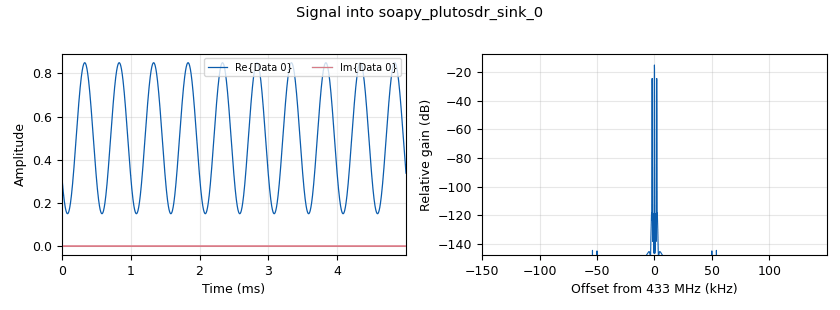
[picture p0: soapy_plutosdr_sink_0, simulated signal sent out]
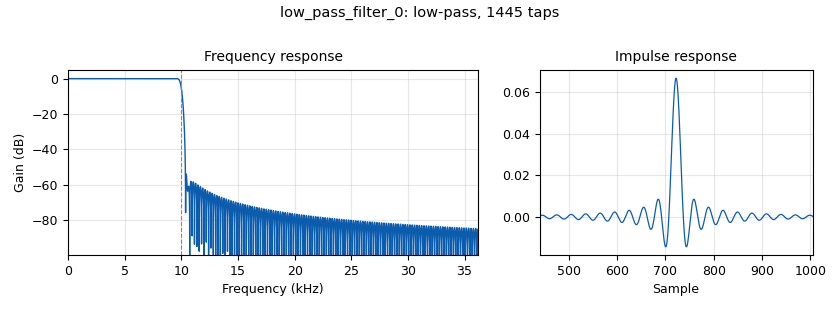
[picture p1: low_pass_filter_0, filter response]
options:
  parameters:
    author: maheswaran
    generate_options: qt_gui
    id: N1
    output_language: python
    title: Not titled yet
  states: {}

blocks:
- name: a
  id: variable
  parameters:
    value: '1'
  states: {state: disabled}
- name: a
  id: variable_qtgui_chooser
  parameters:
    label0: Unmodulated
    label1: AM/USB/LSB
    num_opts: '2'
    option0: '0'
    option1: '0.7'
    type: real
    value: '0.7'
  states: {}
- name: audio_select
  id: variable_qtgui_chooser
  parameters:
    label0: Real
    label1: Imag
    label2: Magnitude
    num_opts: '3'
    option0: '0'
    option1: '1'
    option2: '2'
    type: int
    value: '2'
  states: {}
- name: b
  id: variable
  parameters:
    value: '0'
  states: {state: disabled}
- name: b
  id: variable_qtgui_chooser
  parameters:
    label0: AM/Unmodulated
    label1: USB
    label2: LSB
    num_opts: '3'
    option0: '0'
    option1: '0.7'
    option2: '-0.7'
    type: real
    value: '0'
  states: {}
- name: c
  id: variable
  parameters:
    value: '0.5'
  states: {state: disabled}
- name: c
  id: variable_qtgui_range
  parameters:
    start: '0'
    step: '0.1'
    stop: '1'
    value: '0.5'
  states: {}
- name: fc
  id: variable
  parameters:
    value: int(433e6)
  states: {}
- name: fm
  id: variable_qtgui_range
  parameters:
    start: '1000'
    step: '1000'
    stop: '10000'
    value: '2000'
  states: {}
- name: fm
  id: variable
  parameters:
    value: '2000'
  states: {state: disabled}
- name: gain_rx
  id: variable_qtgui_range
  parameters:
    label: gain_rx
    start: '0'
    step: '1'
    stop: '49'
    value: '42'
  states: {}
- name: gain_tx
  id: variable_qtgui_range
  parameters:
    start: '0'
    step: '1'
    stop: '89'
    value: '81'
  states: {}
- name: samp_rate
  id: variable
  parameters:
    value: int(300e3)
  states: {}
- name: analog_agc_xx_0
  id: analog_agc_xx
  parameters:
    gain: '1.0'
    max_gain: '65536'
    rate: '1e-3'
    reference: '0.7'
    type: complex
  states: {state: disabled}
- name: analog_const_source_x_0
  id: analog_const_source_x
  parameters:
    const: a/2
    type: float
  states: {}
- name: analog_const_source_x_1
  id: analog_const_source_x
  parameters:
    const: c
    type: float
  states: {}
- name: analog_sig_source_x_0_0
  id: analog_sig_source_x
  parameters:
    amp: a/2
    freq: fm
    offset: '0'
    phase: '0'
    samp_rate: samp_rate
    type: float
    waveform: analog.GR_COS_WAVE
  states: {}
- name: analog_sig_source_x_0_0_0
  id: analog_sig_source_x
  parameters:
    amp: b/2
    freq: fm
    offset: '0'
    phase: '0'
    samp_rate: samp_rate
    type: float
    waveform: analog.GR_SIN_WAVE
  states: {}
- name: audio_sink_0
  id: audio_sink
  parameters:
    samp_rate: int(samp_rate/15)
  states: {}
- name: blocks_add_const_vxx_0
  id: blocks_add_const_vxx
  parameters:
    const: complex(c)
    type: complex
  states: {}
- name: blocks_complex_to_float_0
  id: blocks_complex_to_float
  parameters: {}
  states: {}
- name: blocks_complex_to_mag_0
  id: blocks_complex_to_mag
  parameters: {}
  states: {}
- name: blocks_divide_xx_0
  id: blocks_divide_xx
  parameters:
    type: float
  states: {}
- name: blocks_float_to_complex_0
  id: blocks_float_to_complex
  parameters: {}
  states: {}
- name: blocks_selector_0
  id: blocks_selector
  parameters:
    enabled: 'True'
    input_index: audio_select
    num_inputs: '3'
    num_outputs: '1'
    output_index: '0'
    type: float
  states: {}
- name: import_0
  id: import
  parameters:
    imports: import numpy
  states: {}
- name: low_pass_filter_0
  id: low_pass_filter
  parameters:
    cutoff_freq: '10000'
    decim: '15'
    gain: '1'
    samp_rate: samp_rate
    type: fir_filter_ccf
    width: '500'
    win: window.WIN_HAMMING
  states: {}
- name: m
  id: qtgui_number_sink
  parameters:
    autoscale: 'True'
    graph_type: qtgui.NUM_GRAPH_HORIZ
    name: Modulation Index
    type: float
  states: {}
- name: note_0
  id: note
  parameters:
    comment: |-
      Case 1:
      Unmodulated carrier - a = 0, b = 0, c = 1

      Case 2:
      Upper side band modulation - a = 1, b = 1 , c = 0

      Case 3:
      Lower side band modulation - a = 1, b = -1 , c = 0

      Case 4: 
      Amplitude modulation - a = 1, b = 0, c = 1
  states: {}
- name: qtgui_freq_sink_x_0
  id: qtgui_freq_sink_x
  parameters:
    autoscale: 'True'
    average: '0.2'
    bw: samp_rate/15
    fc: '0'
    fftsize: '1024'
    type: complex
  states: {}
- name: qtgui_time_sink_x_0
  id: qtgui_time_sink_x
  parameters:
    autoscale: 'True'
    entags: 'False'
    label1: Real
    label2: Imag
    label3: Magnitude
    nconnections: '3'
    size: '1024'
    srate: samp_rate/15
    type: float
    update_time: '0.1'
  states: {}
- name: qtgui_waterfall_sink_x_0
  id: qtgui_waterfall_sink_x
  parameters:
    bw: samp_rate/15
    fc: '0'
    fftsize: '1024'
    type: complex
  states: {}
- name: soapy_plutosdr_sink_0
  id: soapy_plutosdr_sink
  parameters:
    center_freq: fc
    dev_args: ip:pluto.local
    gain: gain_tx
    samp_rate: samp_rate
    type: fc32
  states: {}
- name: soapy_plutosdr_source_0
  id: soapy_plutosdr_source
  parameters:
    bandwidth: samp_rate
    center_freq: fc
    dev_args: ip:pluto.local
    gain: gain_rx
    samp_rate: samp_rate
    type: fc32
  states: {state: disabled}
- name: soapy_rtlsdr_source_0
  id: soapy_rtlsdr_source
  parameters:
    center_freq: fc
    freq_correction: '7'
    gain: gain_rx
    samp_rate: samp_rate
    type: fc32
  states: {}

connections:
- [analog_agc_xx_0, '0', blocks_complex_to_float_0, '0']
- [analog_agc_xx_0, '0', blocks_complex_to_mag_0, '0']
- [analog_agc_xx_0, '0', qtgui_waterfall_sink_x_0, '0']
- [analog_const_source_x_0, '0', blocks_divide_xx_0, '0']
- [analog_const_source_x_1, '0', blocks_divide_xx_0, '1']
- [analog_sig_source_x_0_0, '0', blocks_float_to_complex_0, '0']
- [analog_sig_source_x_0_0_0, '0', blocks_float_to_complex_0, '1']
- [blocks_add_const_vxx_0, '0', soapy_plutosdr_sink_0, '0']
- [blocks_complex_to_float_0, '0', blocks_selector_0, '0']
- [blocks_complex_to_float_0, '0', qtgui_time_sink_x_0, '0']
- [blocks_complex_to_float_0, '1', blocks_selector_0, '1']
- [blocks_complex_to_float_0, '1', qtgui_time_sink_x_0, '1']
- [blocks_complex_to_mag_0, '0', blocks_selector_0, '2']
- [blocks_complex_to_mag_0, '0', qtgui_time_sink_x_0, '2']
- [blocks_divide_xx_0, '0', m, '0']
- [blocks_float_to_complex_0, '0', blocks_add_const_vxx_0, '0']
- [blocks_selector_0, '0', audio_sink_0, '0']
- [low_pass_filter_0, '0', analog_agc_xx_0, '0']
- [low_pass_filter_0, '0', blocks_complex_to_float_0, '0']
- [low_pass_filter_0, '0', blocks_complex_to_mag_0, '0']
- [low_pass_filter_0, '0', qtgui_waterfall_sink_x_0, '0']
- [soapy_rtlsdr_source_0, '0', low_pass_filter_0, '0']
- [soapy_rtlsdr_source_0, '0', qtgui_freq_sink_x_0, '0']

metadata:
  file_format: 1
  grc_version: 3.10.12.0
